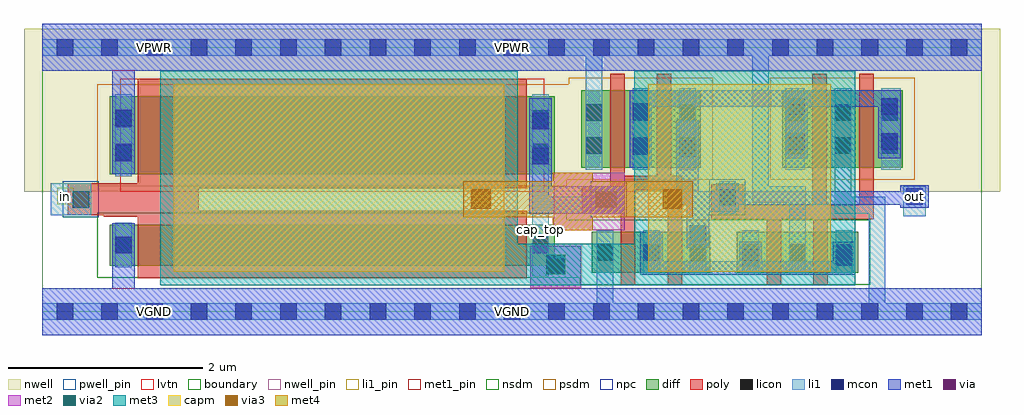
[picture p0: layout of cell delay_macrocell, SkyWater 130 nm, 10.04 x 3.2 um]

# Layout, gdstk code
import gdstk
lib = gdstk.Library(unit=1e-6, precision=1e-09)
def R(c, l, rs):  # rectangles x0, y0, x1, y1
    for r in rs: c.add(gdstk.rectangle(r[:2], r[2:], *l))
def A(c, l, x, y, w, h, nx, ny, dx, dy):  # array of equal rectangles
    R(c, l, [(x+i*dx, y+j*dy, x+i*dx+w, y+j*dy+h) for i in range(nx) for j in range(ny)])
nwell_pin = (64, 16)
nwell = (64, 20)
diff = (65, 20)
poly = (66, 20)
licon = (66, 44)
li1_pin = (67, 16)
li1 = (67, 20)
mcon = (67, 44)
met1_pin = (68, 16)
met1 = (68, 20)
via = (68, 44)
met2 = (69, 20)
via2 = (69, 44)
met3 = (70, 20)
via3 = (70, 44)
met4 = (71, 20)
capm = (89, 44)
nsdm = (93, 44)
psdm = (94, 20)
npc = (95, 20)
pwell_pin = (122, 16)
lvtn = (125, 44)
boundary = (235, 4)

delay_macrocell = lib.new_cell('delay_macrocell')
R(delay_macrocell, nwell_pin, [(1.065,2.635,1.235,2.805)])
R(delay_macrocell, nwell, [(-0.19,1.235,9.85,2.91)])
R(delay_macrocell, diff, [(5.65,0.4,6.87,0.82), (7.14,0.4,8.39,0.82), (0.69,0.475,5.27,0.895), (0.69,1.415,5.27,2.215), (5.54,1.48,6.77,2.28), (7.61,1.48,8.85,2.28)])
R(delay_macrocell, poly, [(5.95,0.27,6.1,1.01), (6.43,0.27,6.58,1.25), (7.45,0.27,7.6,0.95), (7.93,0.27,8.08,0.95), (0.98,0.345,4.98,0.975), (6.88,0.95,8.55,1.1), (0.63,0.975,4.98,0.99), (0.26,0.99,4.98,1.04), (5.55,1.01,6.1,1.25), (0.26,1.04,1.61,1.27), (6.88,1.1,7.21,1.31), (7.92,1.1,8.07,2.45), (8.4,1.1,8.55,2.45), (5.55,1.25,6.58,1.29), (0.26,1.27,4.98,1.32), (5.84,1.29,6.58,1.4), (0.98,1.32,4.98,2.395), (5.84,1.4,5.99,2.45), (6.32,1.4,6.47,2.45)])
A(delay_macrocell, licon, 5.7, 0.525, 0.17, 0.17, 3, 1, 0.48, 0)
A(delay_macrocell, licon, 7.2, 0.525, 0.17, 0.17, 3, 1, 0.48, 0)
A(delay_macrocell, licon, 5.59, 1.625, 0.17, 0.17, 3, 2, 0.48, 0.34)
A(delay_macrocell, licon, 7.67, 1.625, 0.17, 0.17, 3, 2, 0.48, 0.34)
R(delay_macrocell, licon, [(0.75,0.6,0.92,0.77), (5.04,0.6,5.21,0.77), (0.31,1.07,0.48,1.24), (5.74,1.07,5.91,1.24), (6.96,1.09,7.13,1.26), (0.75,1.56,0.92,1.73), (5.04,1.56,5.21,1.73), (0.75,1.9,0.92,2.07), (5.04,1.9,5.21,2.07)])
R(delay_macrocell, li1_pin, [(0.15,1.105,0.32,1.275)])
R(delay_macrocell, li1, [(0,-0.085,9.66,0.085), (5.7,0.085,5.87,0.84), (8.5,0.085,8.67,1.01), (5.04,0.365,5.21,1.01), (6.18,0.38,6.35,0.84), (6.66,0.38,6.83,0.89), (7.2,0.38,7.37,0.84), (7.68,0.38,7.85,1.12), (8.16,0.38,8.33,0.84), (0.75,0.455,0.92,0.915), (8.855,0.98,9.085,1.29), (0.085,0.99,0.5,1.32), (5.04,1.01,5.99,1.18), (6.96,1.01,7.13,1.34), (8.15,1.01,8.67,1.18), (7.3,1.12,7.85,1.29), (5.04,1.18,5.21,2.235), (5.63,1.18,5.99,1.29), (8.15,1.18,8.32,2.3), (7.3,1.29,7.47,2.635), (0.75,1.395,0.92,2.235), (5.59,1.46,5.76,2.635), (6.07,1.46,6.24,2.3), (6.55,1.46,6.72,2.3), (7.64,1.46,7.84,2.3), (8.63,1.46,8.83,2.3), (0,2.635,9.66,2.805)])
A(delay_macrocell, mcon, 0.145, -0.085, 0.17, 0.17, 21, 2, 0.46, 2.72)
R(delay_macrocell, mcon, [(7.2,0.475,7.37,0.645), (8.16,0.475,8.33,0.645), (6.18,0.525,6.35,0.695), (0.75,0.6,0.92,0.77), (6.66,0.72,6.83,0.89), (5.685,1.07,5.855,1.24), (6.96,1.09,7.13,1.26), (8.885,1.1,9.055,1.27), (5.04,1.515,5.21,1.685), (0.75,1.55,0.92,1.72), (6.55,1.595,6.72,1.765), (6.07,1.615,6.24,1.785), (7.67,1.665,7.84,1.835), (8.63,1.665,8.8,1.835), (5.04,1.875,5.21,2.045), (0.75,1.91,0.92,2.08), (6.07,1.975,6.24,2.145), (7.67,2.025,7.84,2.195), (8.63,2.025,8.8,2.195)])
R(delay_macrocell, met1_pin, [(0,-0.24,9.66,0.24), (1.065,-0.085,1.235,0.085), (8.885,1.1,9.055,1.27), (0,2.48,9.66,2.96), (1.065,2.635,1.235,2.805)])
R(delay_macrocell, met1, [(0,-0.24,9.66,0.24), (0.72,0.24,0.95,0.91), (5.02,0.24,5.54,0.68), (6.15,0.38,8.36,0.52), (6.15,0.52,6.38,0.82), (7.17,0.52,7.4,0.72), (8.13,0.52,8.36,0.72), (6.63,0.66,6.86,1.03), (5.01,1.01,5.99,1.29), (6.63,1.03,7.16,1.1), (8.825,1.07,9.115,1.1), (6.52,1.1,9.115,1.24), (6.52,1.24,6.75,1.97), (6.93,1.24,7.16,1.32), (8.825,1.24,9.115,1.3), (5.01,1.29,5.24,2.195), (0.72,1.415,0.95,2.48), (6.04,1.48,6.27,2.11), (7.64,1.58,7.87,2.11), (8.6,1.58,8.83,2.11), (6.04,2.11,8.83,2.28), (0,2.48,9.66,2.96)])
R(delay_macrocell, via, [(5.205,0.39,5.355,0.54), (5.695,1.075,5.845,1.225)])
R(delay_macrocell, met2, [(5.02,0.24,5.54,0.68), (5.26,0.84,5.99,1.43)])
R(delay_macrocell, via2, [(5.18,0.385,5.38,0.585)])
R(delay_macrocell, met3, [(1.21,0.27,8.36,0.7), (1.21,0.7,4.89,2.48), (6.09,0.7,8.36,2.48)])
R(delay_macrocell, via3, [(4.41,1.06,4.61,1.26), (6.38,1.06,6.58,1.26)])
R(delay_macrocell, met4, [(5.25,0.84,5.66,0.97), (4.33,0.97,6.69,1.34), (5.25,1.34,5.66,1.43)])
R(delay_macrocell, capm, [(1.35,0.41,4.75,2.34), (6.23,0.41,8.11,2.34)])
R(delay_macrocell, nsdm, [(5.525,0.275,8.515,0.35), (0.565,0.35,8.515,0.945), (0.565,0.945,5.395,1.02)])
R(delay_macrocell, psdm, [(0.565,1.29,5.395,1.355), (0.565,1.355,6.895,2.34), (7.485,1.355,8.975,2.405), (5.415,2.34,6.895,2.405)])
R(delay_macrocell, npc, [(0.21,0.97,0.58,1.34), (5.64,0.97,6.01,1.34), (6.86,0.99,7.23,1.36)])
R(delay_macrocell, pwell_pin, [(1.065,-0.085,1.235,0.085)])
R(delay_macrocell, lvtn, [(0.8,1.235,5.16,2.395)])
R(delay_macrocell, boundary, [(0,0,9.66,2.72)])
delay_macrocell.add(gdstk.Label('cap_top', (5.125,0.845), layer=67, texttype=5))
delay_macrocell.add(gdstk.Label('in', (0.235,1.19), layer=67, texttype=16))
delay_macrocell.add(gdstk.Label('out', (8.97,1.185), layer=68, texttype=16))
delay_macrocell.add(gdstk.Label('VPWR', (4.83,2.72), layer=68, texttype=16))
delay_macrocell.add(gdstk.Label('VPWR', (1.15,2.72), layer=68, texttype=16))
delay_macrocell.add(gdstk.Label('VGND', (1.15,0), layer=68, texttype=16))
delay_macrocell.add(gdstk.Label('VGND', (4.83,0), layer=68, texttype=16))
delay_macrocell.add(gdstk.Label('VPB', (1.15,2.72), layer=64, texttype=16))
delay_macrocell.add(gdstk.Label('VNB', (1.15,0), layer=122, texttype=16))

lib.write_gds('delay_macrocell.gds')
